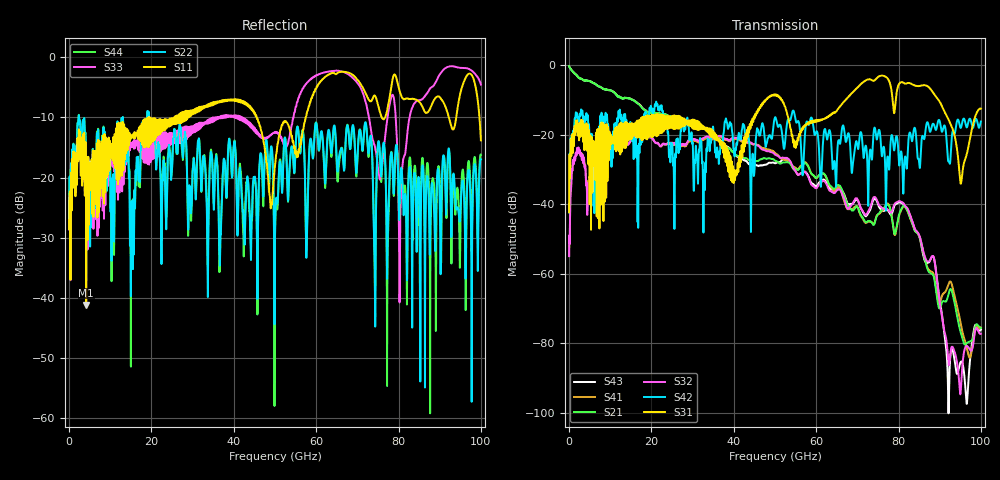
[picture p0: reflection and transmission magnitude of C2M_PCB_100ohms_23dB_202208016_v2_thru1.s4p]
! Info: Touchstone file created by Circ.  Input file=Intel_C2M_200G_9p0in_202208016_staggered.circ
# Hz S RI R 50
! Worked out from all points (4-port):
!   10000 points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, 10 MHz to 100 GHz, reference 50 ohm
!   strongest paths, dB at 10 MHz, 25.01 GHz, 50.01 GHz, 75.01 GHz, 100 GHz:
!     S31: -42.4, -14.9, -8.5, -3.4, -12.6
!     S42: -42.4, -23.0, -15.1, -19.7, -16.3
!     S32: -55.0, -22.3, -25.7, -39.6, -77.3
!     S21: -0.3, -15.0, -27.5, -42.9, -75.7
!     S41: -55.0, -22.6, -25.3, -42.9, -75.5
!     S43: -0.3, -15.0, -28.3, -40.0, -76.1
!   lowest |S11| = -41.2 dB at 4.15 GHz (marker M1), VSWR 1.02, Z = 49.4 + j0.649 ohm
!   |S11| at or under -10 dB: start of sweep to 19.26 GHz; 19.6 GHz to 25.46 GHz (5.854 GHz wide, 26 % of centre); 45.54 GHz to 57.44 GHz (11.9 GHz wide, 23.1 % of centre)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
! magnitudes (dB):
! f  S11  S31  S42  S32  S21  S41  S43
! 10 MHz  -28.6  -42.4  -42.4  -55.0  -0.3  -55.0  -0.3
! 1.43 GHz  -16.8  -19.2  -15.7  -27.5  -2.5  -27.4  -2.5
! 4.15 GHz  -41.2  -17.4  -14.1  -34.7  -4.4  -34.0  -4.4
! 45.44 GHz  -9.7  -14.2  -20.2  -22.9  -27.6  -22.8  -28.8
! 80.9 GHz  -6.7  -4.9  -27.9  -39.5  -40.9  -41.2  -39.8
! 95.17 GHz  -5.5  -34.0  -18.0  -92.8  -77.3  -74.8  -85.3
! 100 GHz  -13.8  -12.6  -16.3  -77.3  -75.7  -75.5  -76.1
